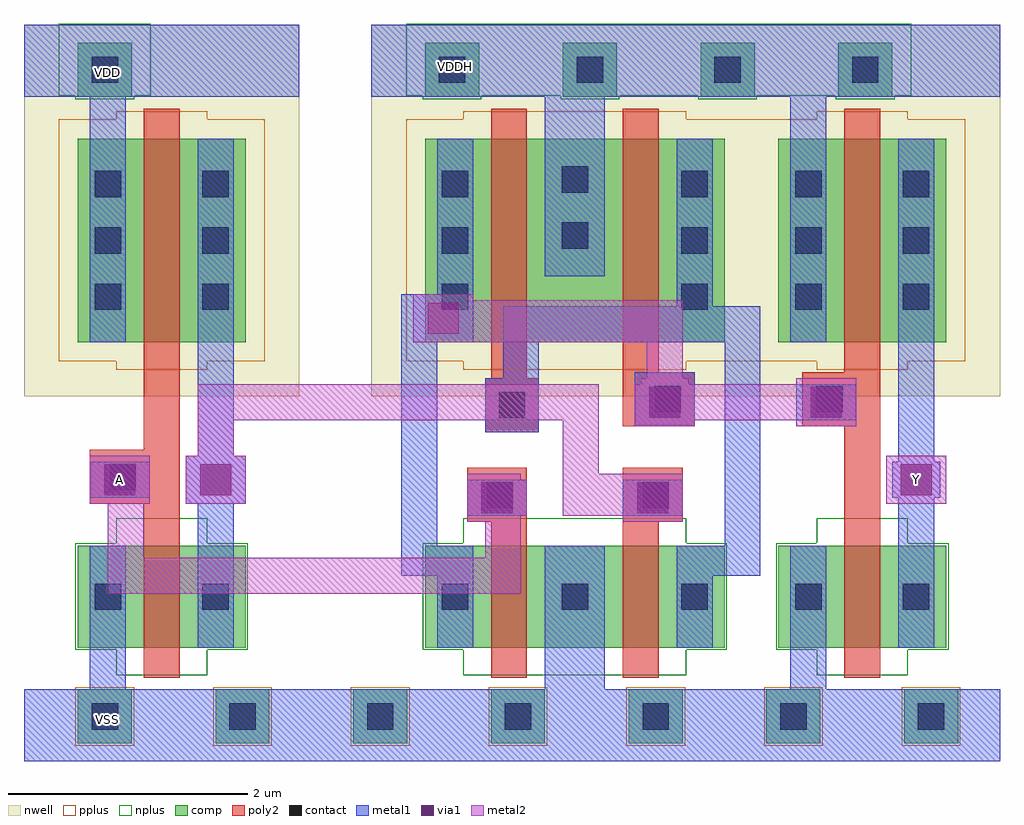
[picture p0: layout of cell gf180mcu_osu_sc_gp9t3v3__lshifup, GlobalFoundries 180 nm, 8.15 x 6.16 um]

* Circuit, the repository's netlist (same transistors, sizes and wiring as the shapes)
* Copyright 2022 Google LLC
*
* Licensed under the Apache License, Version 2.0 (the "License");
* you may not use this file except in compliance with the License.
* You may obtain a copy of the License at
*
*      http://www.apache.org/licenses/LICENSE-2.0
*
* Unless required by applicable law or agreed to in writing, software
* distributed under the License is distributed on an "AS IS" BASIS,
* WITHOUT WARRANTIES OR CONDITIONS OF ANY KIND, either express or implied.
* See the License for the specific language governing permissions and
* limitations under the License.

.inc "/import/yukari1/lrburle/OSU_180/char/techfiles/design.hspice"
.lib "/import/yukari1/lrburle/OSU_180/char/techfiles/sm141064.hspice" typical

.GLOBAL VDD
.GLOBAL VSS

.option scale=0.05u

.subckt gf180mcu_osu_sc_gp9t3v3__lshifup A Y
X0 a_77_55 a_26_19 VSS VSS nmos_3p3 w=17 l=6
X1 a_26_19 A VDD VDD pmos_3p3 w=34 l=6
X2 a_77_55 a_67_19 VDDH VDDH pmos_3p3 w=34 l=6
X3 Y a_67_19 VSS VSS nmos_3p3 w=17 l=6
X4 Y a_67_19 VDDH VDDH pmos_3p3 w=34 l=6
X5 VSS A a_67_19 VSS nmos_3p3 w=17 l=6
X6 VDDH a_77_55 a_67_19 VDDH pmos_3p3 w=34 l=6
X7 a_26_19 A VSS VSS nmos_3p3 w=17 l=6
.ends

** hspice subcircuit dictionary

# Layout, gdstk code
import gdstk
lib = gdstk.Library(unit=1e-6, precision=1e-09)
def R(c, l, rs):  # rectangles x0, y0, x1, y1
    for r in rs: c.add(gdstk.rectangle(r[:2], r[2:], *l))
def A(c, l, x, y, w, h, nx, ny, dx, dy):  # array of equal rectangles
    R(c, l, [(x+i*dx, y+j*dy, x+i*dx+w, y+j*dy+h) for i in range(nx) for j in range(ny)])
nwell = (21, 0)
comp = (22, 0)
poly2 = (30, 0)
pplus = (31, 0)
nplus = (32, 0)
contact = (33, 0)
metal1 = (34, 0)
via1 = (35, 0)
metal2 = (36, 0)

gf180mcu_osu_sc_gp9t3v3_ = lib.new_cell('gf180mcu_osu_sc_gp9t3v3__lshifup')
R(gf180mcu_osu_sc_gp9t3v3_, nwell, [(0,3.05,2.3,6.15), (2.9,3.05,8.15,6.15)])
A(gf180mcu_osu_sc_gp9t3v3_, comp, 0.45, 0.15, 0.45, 0.45, 7, 1, 1.15, 0)
A(gf180mcu_osu_sc_gp9t3v3_, comp, 3.35, 5.55, 0.45, 0.45, 4, 1, 1.15, 0)
R(gf180mcu_osu_sc_gp9t3v3_, comp, [(0.45,0.95,1.85,1.8), (3.35,0.95,5.85,1.8), (6.3,0.95,7.7,1.8), (0.45,3.5,1.85,5.2), (3.35,3.5,5.85,5.2), (6.3,3.5,7.7,5.2), (0.45,5.55,0.9,6)])
R(gf180mcu_osu_sc_gp9t3v3_, poly2, [(1,0.7,1.3,2.15), (3.9,0.7,4.2,2), (5,0.7,5.3,2), (6.85,0.7,7.15,2.8), (3.7,2,4.2,2.45), (5,2,5.5,2.45), (0.55,2.15,1.3,2.6), (1,2.6,1.3,5.45), (3.85,2.75,4.3,3.2), (5,2.8,5.6,3.25), (6.5,2.8,7.15,3.25), (3.9,3.2,4.2,5.45), (5,3.25,5.3,5.45), (6.85,3.25,7.15,5.45)])
A(gf180mcu_osu_sc_gp9t3v3_, pplus, 0.43, 0.13, 0.49, 0.49, 7, 1, 1.15, 0)
R(gf180mcu_osu_sc_gp9t3v3_, pplus, [(0.77,3.27,1.53,3.34), (3.67,3.27,5.53,3.34), (6.62,3.27,7.38,3.34), (0.29,3.34,2.01,5.36), (3.19,3.34,7.86,5.36), (0.77,5.36,1.53,5.43), (3.67,5.36,5.53,5.43), (6.62,5.36,7.38,5.43)])
A(gf180mcu_osu_sc_gp9t3v3_, nplus, 3.33, 5.53, 0.49, 0.03, 4, 1, 1.15, 0)
R(gf180mcu_osu_sc_gp9t3v3_, nplus, [(0.77,0.72,1.53,0.93), (3.67,0.72,5.53,0.93), (6.62,0.72,7.38,0.93), (0.43,0.93,1.87,1.82), (3.33,0.93,5.87,1.82), (6.28,0.93,7.72,1.82), (0.77,1.82,1.53,2.03), (3.67,1.82,5.53,2.03), (6.62,1.82,7.38,2.03), (0.43,5.53,0.92,5.56), (0.29,5.56,1.06,6.16), (3.19,5.56,7.41,6.16)])
A(gf180mcu_osu_sc_gp9t3v3_, contact, 0.565, 0.265, 0.22, 0.22, 7, 1, 1.15, 0)
A(gf180mcu_osu_sc_gp9t3v3_, contact, 3.49, 1.265, 0.22, 0.22, 3, 1, 1, 0)
A(gf180mcu_osu_sc_gp9t3v3_, contact, 0.59, 3.77, 0.22, 0.22, 1, 3, 0, 0.47)
A(gf180mcu_osu_sc_gp9t3v3_, contact, 1.49, 3.77, 0.22, 0.22, 3, 3, 2, 0.47)
A(gf180mcu_osu_sc_gp9t3v3_, contact, 6.44, 3.77, 0.22, 0.22, 1, 3, 0, 0.47)
A(gf180mcu_osu_sc_gp9t3v3_, contact, 7.34, 3.77, 0.22, 0.22, 1, 3, 0, 0.47)
A(gf180mcu_osu_sc_gp9t3v3_, contact, 3.465, 5.665, 0.22, 0.22, 4, 1, 1.15, 0)
R(gf180mcu_osu_sc_gp9t3v3_, contact, [(0.59,1.265,0.81,1.485), (1.49,1.265,1.71,1.485), (6.44,1.265,6.66,1.485), (7.34,1.265,7.56,1.485), (3.865,2.115,4.085,2.335), (5.165,2.115,5.385,2.335), (0.715,2.265,0.935,2.485), (3.965,2.865,4.185,3.085), (5.265,2.915,5.485,3.135), (6.615,2.915,6.835,3.135), (4.49,4.28,4.71,4.5), (4.49,4.75,4.71,4.97), (0.565,5.665,0.785,5.885)])
R(gf180mcu_osu_sc_gp9t3v3_, metal1, [(0,0,8.15,0.6), (0.55,0.6,0.85,1.8), (4.35,0.6,4.85,1.8), (6.4,0.6,6.7,1.8), (1.45,0.95,1.75,2.15), (3.45,0.95,3.75,1.55), (5.45,0.95,5.75,1.55), (7.3,0.95,7.6,2.2), (3.15,1.55,3.75,1.8), (5.45,1.55,6.15,1.8), (3.15,1.8,3.45,3.5), (5.85,1.8,6.15,3.5), (3.7,2.05,4.2,2.35), (5,2.05,5.5,2.35), (1.35,2.15,1.85,2.55), (0.55,2.2,1.05,2.5), (7.25,2.2,7.65,2.5), (7.3,2.5,7.6,5.2), (1.45,2.55,1.75,5.2), (3.85,2.75,4.3,3.2), (5.1,2.8,5.6,3.25), (6.45,2.85,6.95,3.15), (4,3.2,4.3,3.5), (0.55,3.5,0.85,5.55), (3.15,3.5,3.75,3.9), (4,3.5,6.15,3.8), (6.4,3.5,6.7,5.55), (5.45,3.8,5.75,5.2), (3.45,3.9,3.75,5.2), (4.35,4.05,4.85,5.55), (0,5.55,2.3,6.15), (2.9,5.55,8.15,6.15)])
R(gf180mcu_osu_sc_gp9t3v3_, via1, [(3.82,2.07,4.08,2.33), (5.12,2.07,5.38,2.33), (0.67,2.22,0.93,2.48), (1.47,2.22,1.73,2.48), (7.32,2.22,7.58,2.48), (5.22,2.87,5.48,3.13), (6.57,2.87,6.83,3.13), (3.37,3.57,3.63,3.83)])
R(gf180mcu_osu_sc_gp9t3v3_, metal2, [(0.7,1.4,4.15,1.7), (0.7,1.7,1,2.15), (3.85,1.7,4.15,2), (3.7,2,4.15,2.05), (5,2,5.5,2.05), (3.7,2.05,4.2,2.35), (4.5,2.05,5.5,2.4), (0.55,2.15,1.05,2.55), (1.35,2.15,1.85,2.55), (7.2,2.15,7.7,2.55), (3.7,2.35,4.15,2.4), (4.5,2.4,4.8,2.85), (1.45,2.55,1.75,2.85), (5.1,2.8,5.6,2.85), (6.45,2.8,6.95,2.85), (1.45,2.85,4.8,3.15), (5.1,2.85,6.95,3.15), (5.15,3.15,5.55,3.2), (6.45,3.15,6.95,3.2), (5.2,3.2,5.5,3.5), (3.25,3.5,5.5,3.85), (3.25,3.85,3.75,3.9)])
gf180mcu_osu_sc_gp9t3v3_.add(gdstk.Label('VSS', (0.7,0.35), layer=34, texttype=0))
gf180mcu_osu_sc_gp9t3v3_.add(gdstk.Label('VDD', (0.7,5.75), layer=34, texttype=0))
gf180mcu_osu_sc_gp9t3v3_.add(gdstk.Label('VDDH', (3.6,5.8), layer=34, texttype=0))
gf180mcu_osu_sc_gp9t3v3_.add(gdstk.Label('A', (0.8,2.35), layer=36, texttype=10))
gf180mcu_osu_sc_gp9t3v3_.add(gdstk.Label('Y', (7.45,2.35), layer=36, texttype=10))

lib.write_gds('gf180mcu_osu_sc_gp9t3v3__lshifup.gds')
